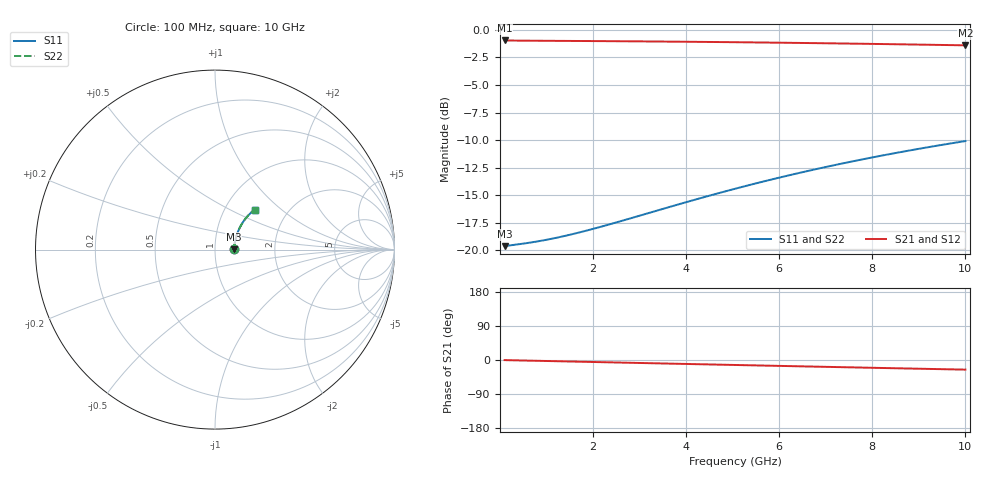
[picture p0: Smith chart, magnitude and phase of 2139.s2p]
# Hz S RI R 50.00
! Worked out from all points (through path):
!   100 points, 100 MHz to 10 GHz, reference 50 ohm
!   highest |S21| = -0.96 dB at 100 MHz (marker M1); lowest = -1.4 dB at 10 GHz (marker M2)
!   group delay of S21, straight-line fit = 7.07 ps
!   lowest |S11| = -19.6 dB at 100 MHz (marker M3), VSWR 1.23, Z = 61.7 + j0.336 ohm
!   |S11| at or under -10 dB: start of sweep to end of sweep
!   |S22| runs from -19.6 to -10.1 dB; largest |S21 - S12| = 0
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1e8  0.1045 0.00269  0.8955 -0.00411  0.8955 -0.00411  0.1045 0.00269
6e8  0.1069 0.016  0.8931 -0.0246  0.8931 -0.0246  0.1069 0.016
8e8  0.1077 0.0214  0.8922 -0.0327  0.8922 -0.0327  0.1077 0.0214
1e9  0.1085 0.0267  0.8914 -0.0409  0.8914 -0.0409  0.1085 0.0267
1.2e9  0.1094 0.0319  0.8905 -0.049  0.8905 -0.049  0.1094 0.0319
1.4e9  0.1103 0.0372  0.8895 -0.0571  0.8895 -0.0571  0.1103 0.0372
1.8e9  0.1123 0.0476  0.8873 -0.0732  0.8873 -0.0732  0.1123 0.0476
2.1e9  0.1141 0.0554  0.8854 -0.0853  0.8854 -0.0853  0.1141 0.0554
2.4e9  0.116 0.0631  0.8834 -0.0973  0.8834 -0.0973  0.116 0.0631
3.4e9  0.1237 0.0884  0.875 -0.1367  0.875 -0.1367  0.1237 0.0884
4.3e9  0.1324 0.1103  0.8655 -0.1715  0.8655 -0.1715  0.1324 0.1103
5.1e9  0.1416 0.129  0.8556 -0.2016  0.8556 -0.2016  0.1416 0.129
5.5e9  0.1466 0.138  0.8502 -0.2163  0.8502 -0.2163  0.1466 0.138
5.9e9  0.1519 0.1468  0.8443 -0.2309  0.8443 -0.2309  0.1519 0.1468
6.3e9  0.1575 0.1554  0.8382 -0.2452  0.8382 -0.2452  0.1575 0.1554
6.7e9  0.1633 0.1638  0.8318 -0.2592  0.8318 -0.2592  0.1633 0.1638
7.1e9  0.1695 0.1718  0.8251 -0.2731  0.8251 -0.2731  0.1695 0.1718
7.5e9  0.1759 0.1797  0.8181 -0.2866  0.8181 -0.2866  0.1759 0.1797
7.9e9  0.1825 0.1873  0.8108 -0.2999  0.8108 -0.2999  0.1825 0.1873
8.4e9  0.191 0.1963  0.8013 -0.3162  0.8013 -0.3162  0.191 0.1963
9.2e9  0.2054 0.2099  0.7854 -0.3413  0.7854 -0.3413  0.2054 0.2099
1e10  0.2205 0.2223  0.7686 -0.3652  0.7686 -0.3652  0.2205 0.2223
